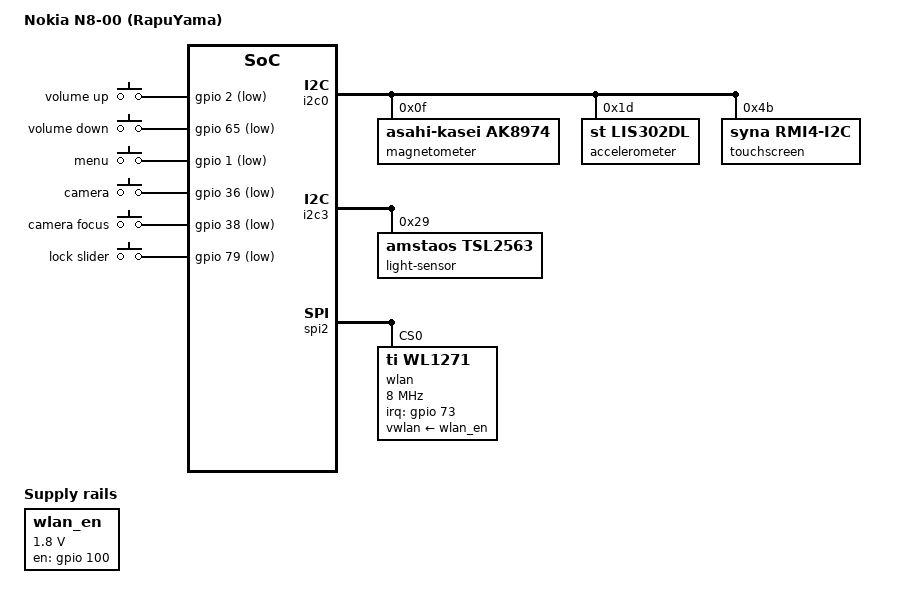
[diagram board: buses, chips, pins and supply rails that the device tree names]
/*
 * Nokia N8-00 (RM-596): everything verified on the phone so far (23.10.2026),
 * see docs/n8-status.md. Boots with n8boot.sis, which reads E:\n8.dtb.
 *
 * - SoC base, usb shell, ram log, eMMC, battery adc: e6.dts / e6-usb.dts,
 *   VideoCore node: e6-vc.dts (same RapuYama SoC and BCM2727 as the E6)
 * - watchdog with the startup mode word, so reboot goes back to Symbian
 * - side keys (gpio-keys-polled), Synaptics TM1284 touch (rmi4, polled),
 *   LIS302DL, AK8974, TSL2563
 * - VideoCore: loader B (loader A is refused on the N8), brought up right
 *   at boot (the first loader B boot powered the phone off, with debug=2
 *   and the E6 panel setup; without the 30 s delay it is fine now)
 * - display: the 360x640 DSI panel (id fe 94 80) on interface 6 with the N8
 *   panel path (videocore.panel=n8, kernel patch 0007), RGB565 frames over
 *   the gfx DMA engine (dma, rgb565, as on the E6): weston runs on it with
 *   the keys and touch (weston.ini wants rgb565)
 *
 * Left out on purpose: the E6 keypad (TC3589x) and maXTouch nodes (not on the
 * N8), the bq2415x chargers (not tested on the N8, boot with a charged
 * battery), the LED driver, the headphone amp.
 */
/include/ "e6-vc.dts"

/ {
	compatible = "nokia,n8", "nokia,rapuyama";
	model = "Nokia N8-00 (RapuYama)";

	chosen {
		bootargs = "earlycon=ramcon,0x1f000000 keep_bootcon console=tty0 panic=10 nohlt clk_ignore_unused pd_ignore_unused cma=0 rootfstype=ramfs e6.usbsh e6.nogui videocore.debug=1 videocore.loader_b=1 videocore.dma=1 videocore.rgb565=1 videocore.panel=n8 wlcore.irq_poll_ms=10";
	};
	/* all keys go straight to gpios and switch to gnd (schematic p4).
	 * polled, the gpio irq polarity is not known */
	gpio-keys {
		compatible = "gpio-keys-polled";
		poll-interval = <50>;

		volume-up {
			label = "volume up";
			linux,code = <115>;		/* KEY_VOLUMEUP */
			gpios = <&gpio 2 1>;		/* active low */
		};
		volume-down {
			label = "volume down";
			linux,code = <114>;		/* KEY_VOLUMEDOWN */
			gpios = <&gpio 65 1>;
		};
		menu {
			label = "menu";
			linux,code = <172>;		/* KEY_HOMEPAGE */
			gpios = <&gpio 1 1>;
		};
		camera {
			label = "camera";
			linux,code = <212>;		/* KEY_CAMERA */
			gpios = <&gpio 36 1>;
		};
		camera-focus {
			label = "camera focus";
			linux,code = <528>;		/* KEY_CAMERA_FOCUS */
			gpios = <&gpio 38 1>;
		};
		lock {
			label = "lock slider";
			linux,code = <152>;		/* KEY_SCREENLOCK */
			gpios = <&gpio 79 1>;
		};
	};
};

/* the N8's ISA software data (the security server behind the PA_SWD secure
 * watchdog: token, heap, protected application table, stacks) is at VA
 * 0xc6800000 +0x280000 = phys 0x1fd50000..0x1ffcffff (swdvadump 24.10.2026,
 * via the L1 copy in the isah block), in ordinary linux ram: the E6's
 * shm@1f8b0000 does not cover it. found intact early after boot (token 240,
 * live heap, a PA_SWD request in the pool), keep linux off it. not no-map,
 * same reason as the E6 nodes (a no-map hole near the top of ram) */
&{/reserved-memory} {
	isasw@1fd50000 {
		reg = <0x1fd50000 0x280000>;
	};
};

/* the startup mode word as 4th reg: rebootdriver.ldd sets bits 20-23 before
 * the soc reset. left at 0 the n8 powers off after a reboot instead of
 * booting Symbian, 0xe (normal restart) brings it back */
&{/soc/watchdog@20030700} {
	reg = <0x20030700 0x40>, <0x200336c4 0x4>, <0x20033114 0x4>,
	      <0x20040400 0x4>;
};


&i2c0 {
	status = "okay";
	/delete-node/ keypad@44;
	/delete-node/ touchscreen@4a;

	/* N1105, ak8974 tells ak8974 / ami305 / ami306 apart itself */
	magnetometer@f {
		compatible = "asahi-kasei,ak8974";
		reg = <0x0f>;
	};

	/* N1103, SDO tied high */
	accelerometer@1d {
		compatible = "st,lis302dl";
		reg = <0x1d>;
	};

	/* touch flex X2500: Synaptics ClearPad TM1284_1, RMI4 (i2cdump on the
	 * phone: product id at 0x7e, PDT F34 / F01 / F08 / F11 at 0xe9..0xd7).
	 * no interrupts: the ATTN gpio has no working irq, rmi4 polls */
	touchscreen@4b {
		compatible = "syna,rmi4-i2c";
		reg = <0x4b>;
		#address-cells = <1>;
		#size-cells = <0>;

		rmi4-f01@1 {
			reg = <0x01>;
			syna,nosleep-mode = <1>;
		};

		/* raw x runs top -> bottom along the long side, raw y right -> left
		 * (phone upright, menu key at the bottom). rmi4 flips, then
		 * swaps: inverted-y + swapped-x-y = x left -> right 0..1756,
		 * y top -> bottom 0..3155, matching the 360x640 panel. checked
		 * with fbtouch: with inverted-x as well, every touch landed in
		 * the box above / below the one touched (23.10.2026) */
		rmi4-f11@11 {
			reg = <0x11>;
			touchscreen-inverted-y;
			touchscreen-swapped-x-y;
		};
	};
};

&i2c3 {
	status = "okay";

	/* V1100 */
	light-sensor@29 {
		compatible = "amstaos,tsl2563";
		reg = <0x29>;
	};
};

&charger {
	status = "disabled";
};

/*
 * WLAN: TI WL1271 PG2.0 on spi2 (WSPI), verified 24.10.2026: firmware
 * wl127x-fw-5-sr boots, scan, WPA2 connect, DHCP, internet. Needs:
 * - n8boot's WLAN step before the jump (default on, E:\nowlan.txt skips it):
 *   PowerResourceManager 0x25 = the 19.2 MHz reference clock the modem gates,
 *   then genio100 high. Without it the chip id reads garbage
 * - kernel patches 0008 (spi-rapuyama), 0009 (wl12xx binds the spi glue's
 *   wl127x device), 0010 (32 bit words as byte frames), 0013 (wlcore
 *   irq_poll_ms: the genio73 interrupt never reaches the cpu, the bootarg
 *   above polls the chip's interrupt status every 10 ms instead)
 * - firmware + the phone's own NVS (MAC, calibration) in the initramfs
 *   (build-vc.sh, work/wlan/fw, not in git)
 * - runtime PM off for the wlcore device (init does it): waking the chip
 *   from ELP times out
 * Evidence: work/spi-n8/NOTES.md, docs/n8-status.md
 */
/ {
	clocks {
		/* spi functional clock: spi2.dll FUN_801115c8 computes
		 * sclk = 192000 kHz / 2 / (div + 1) */
		spi_fclk: spi-fclk {
			compatible = "fixed-clock";
			#clock-cells = <0>;
			clock-frequency = <192000000>;
		};
	};

	/* wlanhpa.dll config 0x8038a0a4: enable = genio100, active high,
	 * NKern::Sleep(12) after power on. always on: n8boot already powered
	 * the chip with its clock, a power cycle in linux is not needed */
	wlan_en: regulator-wlan-en {
		compatible = "regulator-fixed";
		regulator-name = "wlan-en";
		regulator-min-microvolt = <1800000>;
		regulator-max-microvolt = <1800000>;
		gpio = <&gpio 100 0>;
		enable-active-high;
		startup-delay-us = <12000>;
		regulator-boot-on;
		regulator-always-on;
	};
};

&{/soc} {
	/* spi2.dll, the WLAN's controller. second reg = the block shared by
	 * spi1/2/3 (0x804 = clock enable). polled driver */
	spi2: spi@20020600 {
		compatible = "nokia,rapuyama-spi";
		reg = <0x20020600 0x80>, <0x20020800 0x40>;
		/* resource 0x1c = cgc gate 0x0c (0x200330d0 bit 8) */
		clocks = <&cgc 0x1c>, <&spi_fclk>;
		clock-names = "ick", "fck";
		#address-cells = <1>;
		#size-cells = <0>;

		wlan@0 {
			compatible = "ti,wl1271";
			reg = <0>;
			/* 1 and 8 MHz verified (8: firmware upload 0.45 s) */
			spi-max-frequency = <8000000>;
			/* WLAN_IRQ = genio73. it never delivers the firmware's
			 * events (rising fires only on release, falling and
			 * level low never), wlcore.irq_poll_ms does the work.
			 * kept as a harmless extra */
			interrupts-extended = <&gpio 73 1>;
			vwlan-supply = <&wlan_en>;
			/* the phone's INI: ref_clock 2 = 38.4 MHz; wl12xx sends
			 * this, not the NVS value (19.2: the scan hears nothing) */
			ref-clock-frequency = <38400000>;
		};
	};
};
